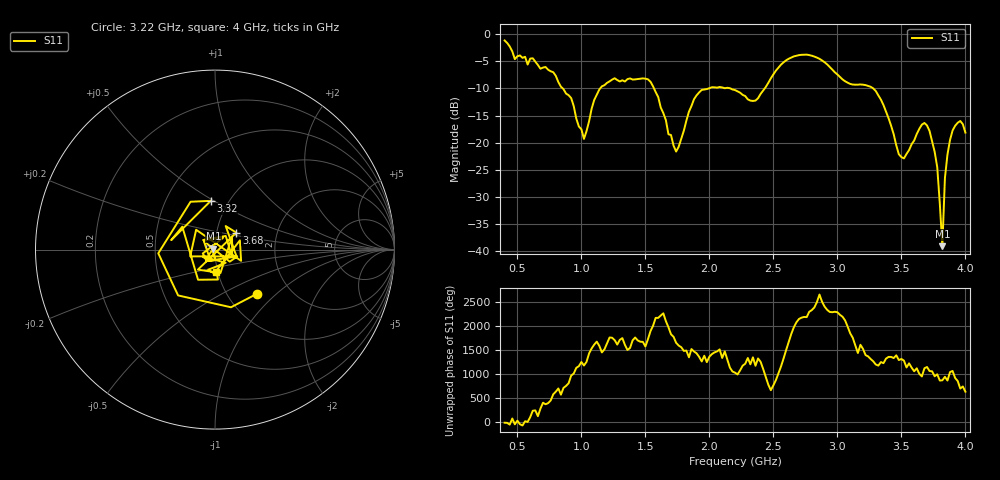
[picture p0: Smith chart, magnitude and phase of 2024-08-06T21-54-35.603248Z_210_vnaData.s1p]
!Created with skrf (http://scikit-rf.org).
# Hz S RI R 50.0
!freq ReS11 ImS11
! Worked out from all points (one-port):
!   181 points, 400 MHz to 4 GHz, reference 50 ohm
!   lowest |S11| = -39.1 dB at 3.82 GHz (marker M1), VSWR 1.02, Z = 49.1 + j0.58 ohm
!   |S11| at or under -10 dB: 854.6 MHz to 1.146 GHz (291.9 MHz wide, 29.2 % of centre); 1.567 GHz to 1.993 GHz (425.2 MHz wide, 23.9 % of centre); 3.281 GHz to end of sweep (the widest 3 of 4)
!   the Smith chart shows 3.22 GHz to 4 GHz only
!   S11 on the Smith chart (normalised r, x): 3.22 GHz: 1.37, -0.76; 3.32 GHz: 0.83, +0.48; 3.68 GHz: 1.24, +0.24; 4 GHz: 0.98, -0.25
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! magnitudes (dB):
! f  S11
! 400 MHz  -1.1
! 480 MHz  -4.6
! 620 MHz  -4.4
! 860 MHz  -10.1
! 920 MHz  -11.8
! 1.02 GHz  -19.3
! 1.14 GHz  -10.2
! 1.3 GHz  -8.7
! 1.54 GHz  -8.8
! 1.68 GHz  -18.5
! 1.76 GHz  -20.8
! 1.92 GHz  -10.7
! 2.2 GHz  -10.3
! 2.36 GHz  -12.2
! 2.66 GHz  -4.1
! 2.86 GHz  -4.5
! 3.1 GHz  -9.2
! 3.22 GHz  -9.4
! 3.32 GHz  -11.3
! 3.48 GHz  -22.1
! 3.56 GHz  -21.4
! 3.68 GHz  -16.4
! 3.78 GHz  -24.5
! 3.82 GHz  -39.1
! 3.84 GHz  -26.6
! 3.88 GHz  -19.5
! 3.96 GHz  -16.0
! 4 GHz  -18.2
